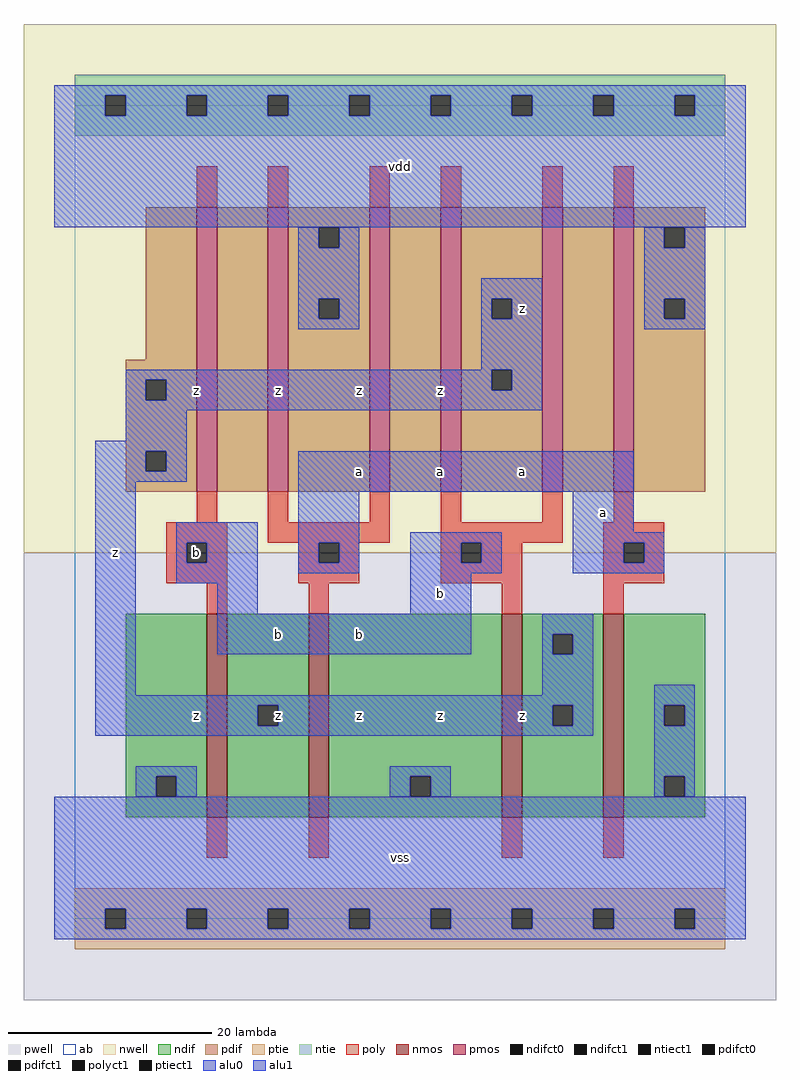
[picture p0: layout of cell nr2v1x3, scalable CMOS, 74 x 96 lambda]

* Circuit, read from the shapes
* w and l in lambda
.subckt nr2v1x3 a b vdd vss z
M1 z b vss vss nfet w=20 l=2 m=2
M2 vss a z vss nfet w=20 l=2 m=2
M3 n1 b z vdd pfet w=28 l=2
M4 vdd a n1 vdd pfet w=28 l=2
M5 n2 a vdd vdd pfet w=28 l=2
M6 z b n2 vdd pfet w=28 l=2
M7 n3 b z vdd pfet w=28 l=2
M8 vdd a n3 vdd pfet w=28 l=2
.ends

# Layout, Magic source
magic
tech scmos
<< ab >>
rect 0 0 64 80
<< nwell >>
rect -5 36 69 88
<< pwell >>
rect -5 -8 69 36
<< poly >>
rect 12 70 14 74
rect 19 70 21 74
rect 29 70 31 74
rect 36 70 38 74
rect 46 70 48 74
rect 53 70 55 74
rect 12 39 14 42
rect 19 39 21 42
rect 29 39 31 42
rect 9 37 15 39
rect 19 37 31 39
rect 36 39 38 42
rect 46 39 48 42
rect 53 39 55 42
rect 36 37 48 39
rect 52 37 58 39
rect 9 35 11 37
rect 13 35 15 37
rect 9 33 15 35
rect 22 35 24 37
rect 26 35 28 37
rect 22 33 28 35
rect 36 35 38 37
rect 40 35 44 37
rect 36 33 44 35
rect 13 30 15 33
rect 23 30 25 33
rect 42 30 44 33
rect 52 35 54 37
rect 56 35 58 37
rect 52 33 58 35
rect 52 30 54 33
rect 13 6 15 10
rect 23 6 25 10
rect 42 6 44 10
rect 52 6 54 10
<< ndif >>
rect 5 14 13 30
rect 5 12 8 14
rect 10 12 13 14
rect 5 10 13 12
rect 15 21 23 30
rect 15 19 18 21
rect 20 19 23 21
rect 15 10 23 19
rect 25 14 42 30
rect 25 12 33 14
rect 35 12 42 14
rect 25 10 42 12
rect 44 28 52 30
rect 44 26 47 28
rect 49 26 52 28
rect 44 21 52 26
rect 44 19 47 21
rect 49 19 52 21
rect 44 10 52 19
rect 54 21 62 30
rect 54 19 58 21
rect 60 19 62 21
rect 54 14 62 19
rect 54 12 58 14
rect 60 12 62 14
rect 54 10 62 12
<< pdif >>
rect 7 55 12 70
rect 5 53 12 55
rect 5 51 7 53
rect 9 51 12 53
rect 5 46 12 51
rect 5 44 7 46
rect 9 44 12 46
rect 5 42 12 44
rect 14 42 19 70
rect 21 68 29 70
rect 21 66 24 68
rect 26 66 29 68
rect 21 61 29 66
rect 21 59 24 61
rect 26 59 29 61
rect 21 42 29 59
rect 31 42 36 70
rect 38 61 46 70
rect 38 59 41 61
rect 43 59 46 61
rect 38 54 46 59
rect 38 52 41 54
rect 43 52 46 54
rect 38 42 46 52
rect 48 42 53 70
rect 55 68 62 70
rect 55 66 58 68
rect 60 66 62 68
rect 55 61 62 66
rect 55 59 58 61
rect 60 59 62 61
rect 55 42 62 59
<< alu1 >>
rect -2 81 66 82
rect -2 79 3 81
rect 5 79 11 81
rect 13 79 19 81
rect 21 79 27 81
rect 29 79 35 81
rect 37 79 43 81
rect 45 79 51 81
rect 53 79 59 81
rect 61 79 66 81
rect -2 68 66 79
rect 40 61 46 63
rect 40 59 41 61
rect 43 59 46 61
rect 40 54 46 59
rect 5 53 41 54
rect 5 51 7 53
rect 9 52 41 53
rect 43 52 46 54
rect 9 51 46 52
rect 5 50 46 51
rect 5 47 11 50
rect 2 46 11 47
rect 2 44 7 46
rect 9 44 11 46
rect 2 43 11 44
rect 2 22 6 43
rect 22 42 55 46
rect 10 37 18 39
rect 10 35 11 37
rect 13 35 18 37
rect 10 33 18 35
rect 22 37 28 42
rect 49 38 55 42
rect 22 35 24 37
rect 26 35 28 37
rect 22 34 28 35
rect 33 37 42 38
rect 33 35 38 37
rect 40 35 42 37
rect 33 34 42 35
rect 49 37 58 38
rect 49 35 54 37
rect 56 35 58 37
rect 49 34 58 35
rect 14 30 18 33
rect 33 30 39 34
rect 14 26 39 30
rect 46 28 51 30
rect 46 26 47 28
rect 49 26 51 28
rect 46 22 51 26
rect 2 21 51 22
rect 2 19 18 21
rect 20 19 47 21
rect 49 19 51 21
rect 2 18 51 19
rect -2 1 66 12
rect -2 -1 3 1
rect 5 -1 11 1
rect 13 -1 19 1
rect 21 -1 27 1
rect 29 -1 35 1
rect 37 -1 43 1
rect 45 -1 51 1
rect 53 -1 59 1
rect 61 -1 66 1
rect -2 -2 66 -1
<< ptie >>
rect 0 1 64 3
rect 0 -1 3 1
rect 5 -1 11 1
rect 13 -1 19 1
rect 21 -1 27 1
rect 29 -1 35 1
rect 37 -1 43 1
rect 45 -1 51 1
rect 53 -1 59 1
rect 61 -1 64 1
rect 0 -3 64 -1
<< ntie >>
rect 0 81 64 83
rect 0 79 3 81
rect 5 79 11 81
rect 13 79 19 81
rect 21 79 27 81
rect 29 79 35 81
rect 37 79 43 81
rect 45 79 51 81
rect 53 79 59 81
rect 61 79 64 81
rect 0 77 64 79
<< nmos >>
rect 13 10 15 30
rect 23 10 25 30
rect 42 10 44 30
rect 52 10 54 30
<< pmos >>
rect 12 42 14 70
rect 19 42 21 70
rect 29 42 31 70
rect 36 42 38 70
rect 46 42 48 70
rect 53 42 55 70
<< polyct1 >>
rect 11 35 13 37
rect 24 35 26 37
rect 38 35 40 37
rect 54 35 56 37
<< ndifct0 >>
rect 8 12 10 14
rect 33 12 35 14
rect 58 19 60 21
rect 58 12 60 14
<< ndifct1 >>
rect 18 19 20 21
rect 47 26 49 28
rect 47 19 49 21
<< ntiect1 >>
rect 3 79 5 81
rect 11 79 13 81
rect 19 79 21 81
rect 27 79 29 81
rect 35 79 37 81
rect 43 79 45 81
rect 51 79 53 81
rect 59 79 61 81
<< ptiect1 >>
rect 3 -1 5 1
rect 11 -1 13 1
rect 19 -1 21 1
rect 27 -1 29 1
rect 35 -1 37 1
rect 43 -1 45 1
rect 51 -1 53 1
rect 59 -1 61 1
<< pdifct0 >>
rect 24 66 26 68
rect 24 59 26 61
rect 58 66 60 68
rect 58 59 60 61
<< pdifct1 >>
rect 7 51 9 53
rect 7 44 9 46
rect 41 59 43 61
rect 41 52 43 54
<< alu0 >>
rect 22 66 24 68
rect 26 66 28 68
rect 22 61 28 66
rect 56 66 58 68
rect 60 66 62 68
rect 22 59 24 61
rect 26 59 28 61
rect 22 58 28 59
rect 56 61 62 66
rect 56 59 58 61
rect 60 59 62 61
rect 56 58 62 59
rect 57 21 61 23
rect 57 19 58 21
rect 60 19 61 21
rect 6 14 12 15
rect 6 12 8 14
rect 10 12 12 14
rect 31 14 37 15
rect 31 12 33 14
rect 35 12 37 14
rect 57 14 61 19
rect 57 12 58 14
rect 60 12 61 14
<< labels >>
rlabel alu1 12 20 12 20 6 z
rlabel polyct1 12 36 12 36 6 b
rlabel alu1 4 36 4 36 6 z
rlabel alu1 12 52 12 52 6 z
rlabel alu1 20 20 20 20 6 z
rlabel alu1 28 20 28 20 6 z
rlabel alu1 28 28 28 28 6 b
rlabel alu1 20 28 20 28 6 b
rlabel alu1 28 44 28 44 6 a
rlabel alu1 28 52 28 52 6 z
rlabel alu1 20 52 20 52 6 z
rlabel alu1 32 6 32 6 6 vss
rlabel alu1 44 20 44 20 6 z
rlabel alu1 36 20 36 20 6 z
rlabel alu1 36 32 36 32 6 b
rlabel alu1 44 44 44 44 6 a
rlabel alu1 36 44 36 44 6 a
rlabel alu1 36 52 36 52 6 z
rlabel alu1 44 60 44 60 6 z
rlabel alu1 32 74 32 74 6 vdd
rlabel alu1 52 40 52 40 6 a
<< end >>
